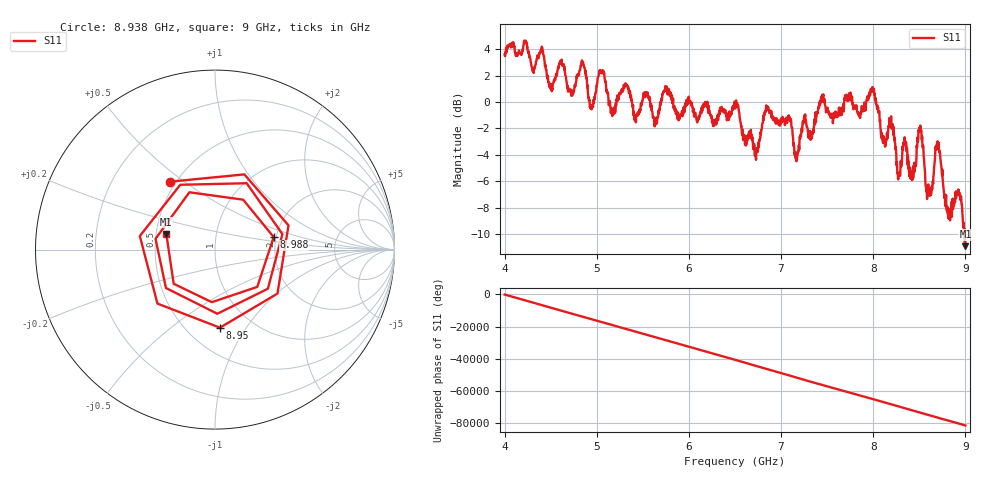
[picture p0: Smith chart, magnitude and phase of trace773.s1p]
! Created with skrf 1.8.0 (http://scikit-rf.org).
# Hz S RI R 50.0
!freq ReS11 ImS11
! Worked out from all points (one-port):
!   1601 points, 4 GHz to 9 GHz, reference 50 ohm
!   lowest |S11| = -10.9 dB at 9 GHz (marker M1), VSWR 1.80, Z = 28.3 + j5.39 ohm
!   |S11| at or under -10 dB: 8.990682 GHz to end of sweep
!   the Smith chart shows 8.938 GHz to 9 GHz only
!   S11 on the Smith chart (normalised r, x): 8.938 GHz: 0.47, +0.45; 8.95 GHz: 0.71, -0.77; 8.988 GHz: 1.94, +0.30; 9 GHz: 0.57, +0.11
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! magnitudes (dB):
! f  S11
! 4 GHz  3.6
! 4.403 GHz  4.2
! 4.5 GHz  1.4
! 4.625 GHz  2.8
! 4.728 GHz  0.6
! 4.853 GHz  3.0
! 4.941 GHz  -0.4
! 5.047 GHz  2.2
! 5.169 GHz  -1.1
! 5.25 GHz  0.6
! 5.875 GHz  -0.9
! 6.5 GHz  -0.2
! 6.722 GHz  -4.0
! 6.844 GHz  -0.4
! 7.125 GHz  -2.4
! 7.75 GHz  0.6
! 7.994 GHz  1.1
! 8.278 GHz  -5.5
! 8.375 GHz  -4.0
! 8.428 GHz  -5.8
! 8.506 GHz  -1.9
! 8.594 GHz  -6.6
! 8.7 GHz  -3.3
! 8.819 GHz  -8.8
! 8.938 GHz  -6.9
! 8.95 GHz  -7.2
! 8.988 GHz  -9.5
! 9 GHz  -10.9
